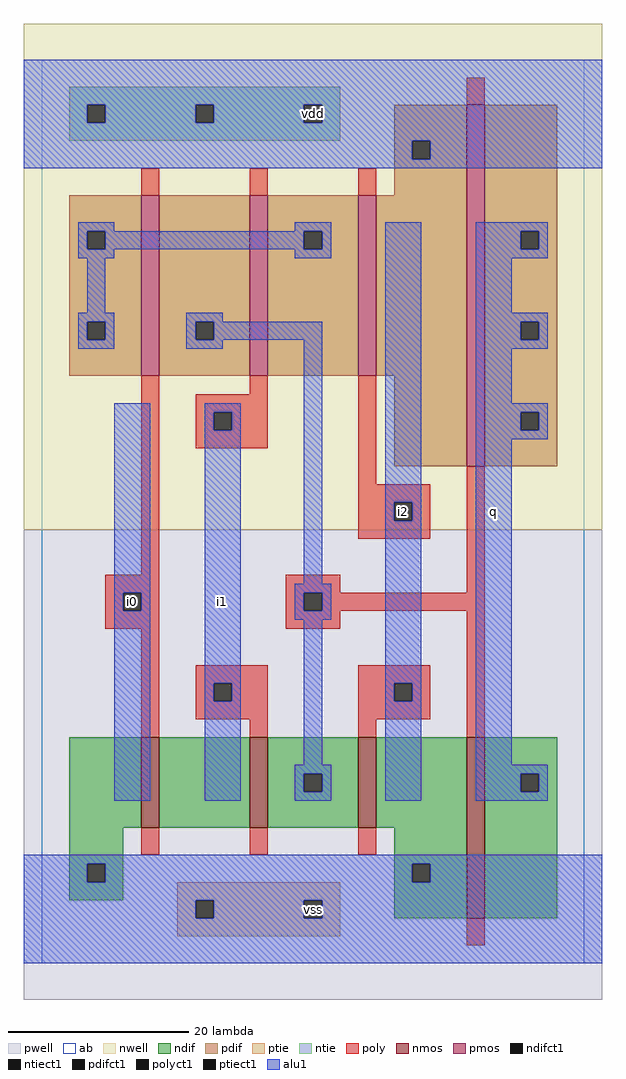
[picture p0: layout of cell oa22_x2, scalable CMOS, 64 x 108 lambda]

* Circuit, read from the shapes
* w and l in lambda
.subckt oa22_x2 i0 i1 i2 q vdd vss
M1 n1 i0 vss vss nfet w=10 l=2
M2 n2 i1 n1 vss nfet w=10 l=2
M3 vss i2 n2 vss nfet w=10 l=2
M4 q n2 vss vss nfet w=20 l=2
M5 n2 i0 n3 vdd pfet w=20 l=2
M6 n3 i1 n2 vdd pfet w=20 l=2
M7 vdd i2 n3 vdd pfet w=20 l=2
M8 q n2 vdd vdd pfet w=40 l=2
.ends

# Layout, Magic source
magic
tech scmos
<< ab >>
rect 0 0 60 100
<< nwell >>
rect -2 48 62 104
<< pwell >>
rect -2 -4 62 48
<< poly >>
rect 47 95 49 98
rect 11 85 13 88
rect 23 85 25 88
rect 35 85 37 88
rect 11 43 13 65
rect 23 63 25 65
rect 17 61 25 63
rect 17 59 19 61
rect 21 59 25 61
rect 17 57 25 59
rect 35 53 37 65
rect 35 51 43 53
rect 35 49 39 51
rect 41 49 43 51
rect 35 47 43 49
rect 7 41 13 43
rect 7 39 9 41
rect 11 39 13 41
rect 7 37 13 39
rect 27 41 33 43
rect 47 41 49 55
rect 27 39 29 41
rect 31 39 49 41
rect 27 37 33 39
rect 11 25 13 37
rect 17 31 25 33
rect 17 29 19 31
rect 21 29 25 31
rect 17 27 25 29
rect 23 25 25 27
rect 35 31 43 33
rect 35 29 39 31
rect 41 29 43 31
rect 35 27 43 29
rect 35 25 37 27
rect 47 25 49 39
rect 11 12 13 15
rect 23 12 25 15
rect 35 12 37 15
rect 47 2 49 5
<< ndif >>
rect 3 15 11 25
rect 13 15 23 25
rect 25 21 35 25
rect 25 19 29 21
rect 31 19 35 21
rect 25 15 35 19
rect 37 15 47 25
rect 3 11 9 15
rect 3 9 5 11
rect 7 9 9 11
rect 39 11 47 15
rect 39 9 41 11
rect 43 9 47 11
rect 3 7 9 9
rect 39 5 47 9
rect 49 21 57 25
rect 49 19 53 21
rect 55 19 57 21
rect 49 5 57 19
<< pdif >>
rect 39 91 47 95
rect 39 89 41 91
rect 43 89 47 91
rect 39 85 47 89
rect 3 81 11 85
rect 3 79 5 81
rect 7 79 11 81
rect 3 71 11 79
rect 3 69 5 71
rect 7 69 11 71
rect 3 65 11 69
rect 13 71 23 85
rect 13 69 17 71
rect 19 69 23 71
rect 13 65 23 69
rect 25 81 35 85
rect 25 79 29 81
rect 31 79 35 81
rect 25 65 35 79
rect 37 65 47 85
rect 39 55 47 65
rect 49 81 57 95
rect 49 79 53 81
rect 55 79 57 81
rect 49 71 57 79
rect 49 69 53 71
rect 55 69 57 71
rect 49 61 57 69
rect 49 59 53 61
rect 55 59 57 61
rect 49 55 57 59
<< alu1 >>
rect -2 95 62 100
rect -2 93 5 95
rect 7 93 17 95
rect 19 93 29 95
rect 31 93 62 95
rect -2 91 62 93
rect -2 89 41 91
rect 43 89 62 91
rect -2 88 62 89
rect 4 81 8 82
rect 28 81 32 82
rect 4 79 5 81
rect 7 79 29 81
rect 31 79 32 81
rect 4 78 8 79
rect 28 78 32 79
rect 5 72 7 78
rect 4 71 8 72
rect 4 69 5 71
rect 7 69 8 71
rect 4 68 8 69
rect 16 71 20 72
rect 16 69 17 71
rect 19 69 31 71
rect 16 68 20 69
rect 8 41 12 62
rect 8 39 9 41
rect 11 39 12 41
rect 8 18 12 39
rect 18 61 22 62
rect 18 59 19 61
rect 21 59 22 61
rect 18 31 22 59
rect 29 42 31 69
rect 38 51 42 82
rect 38 49 39 51
rect 41 49 42 51
rect 28 41 32 42
rect 28 39 29 41
rect 31 39 32 41
rect 28 38 32 39
rect 18 29 19 31
rect 21 29 22 31
rect 18 18 22 29
rect 29 22 31 38
rect 38 31 42 49
rect 38 29 39 31
rect 41 29 42 31
rect 28 21 32 22
rect 28 19 29 21
rect 31 19 32 21
rect 28 18 32 19
rect 38 18 42 29
rect 48 81 56 82
rect 48 79 53 81
rect 55 79 56 81
rect 48 78 56 79
rect 48 72 52 78
rect 48 71 56 72
rect 48 69 53 71
rect 55 69 56 71
rect 48 68 56 69
rect 48 62 52 68
rect 48 61 56 62
rect 48 59 53 61
rect 55 59 56 61
rect 48 58 56 59
rect 48 22 52 58
rect 48 21 56 22
rect 48 19 53 21
rect 55 19 56 21
rect 48 18 56 19
rect -2 11 62 12
rect -2 9 5 11
rect 7 9 41 11
rect 43 9 62 11
rect -2 7 62 9
rect -2 5 17 7
rect 19 5 29 7
rect 31 5 62 7
rect -2 0 62 5
<< ptie >>
rect 15 7 33 9
rect 15 5 17 7
rect 19 5 29 7
rect 31 5 33 7
rect 15 3 33 5
<< ntie >>
rect 3 95 33 97
rect 3 93 5 95
rect 7 93 17 95
rect 19 93 29 95
rect 31 93 33 95
rect 3 91 33 93
<< nmos >>
rect 11 15 13 25
rect 23 15 25 25
rect 35 15 37 25
rect 47 5 49 25
<< pmos >>
rect 11 65 13 85
rect 23 65 25 85
rect 35 65 37 85
rect 47 55 49 95
<< polyct1 >>
rect 19 59 21 61
rect 39 49 41 51
rect 9 39 11 41
rect 29 39 31 41
rect 19 29 21 31
rect 39 29 41 31
<< ndifct1 >>
rect 29 19 31 21
rect 5 9 7 11
rect 41 9 43 11
rect 53 19 55 21
<< ntiect1 >>
rect 5 93 7 95
rect 17 93 19 95
rect 29 93 31 95
<< ptiect1 >>
rect 17 5 19 7
rect 29 5 31 7
<< pdifct1 >>
rect 41 89 43 91
rect 5 79 7 81
rect 5 69 7 71
rect 17 69 19 71
rect 29 79 31 81
rect 53 79 55 81
rect 53 69 55 71
rect 53 59 55 61
<< labels >>
rlabel polyct1 10 40 10 40 6 i0
rlabel alu1 20 40 20 40 6 i1
rlabel ptiect1 30 6 30 6 6 vss
rlabel polyct1 40 50 40 50 6 i2
rlabel ntiect1 30 94 30 94 6 vdd
rlabel alu1 50 50 50 50 6 q
<< end >>
